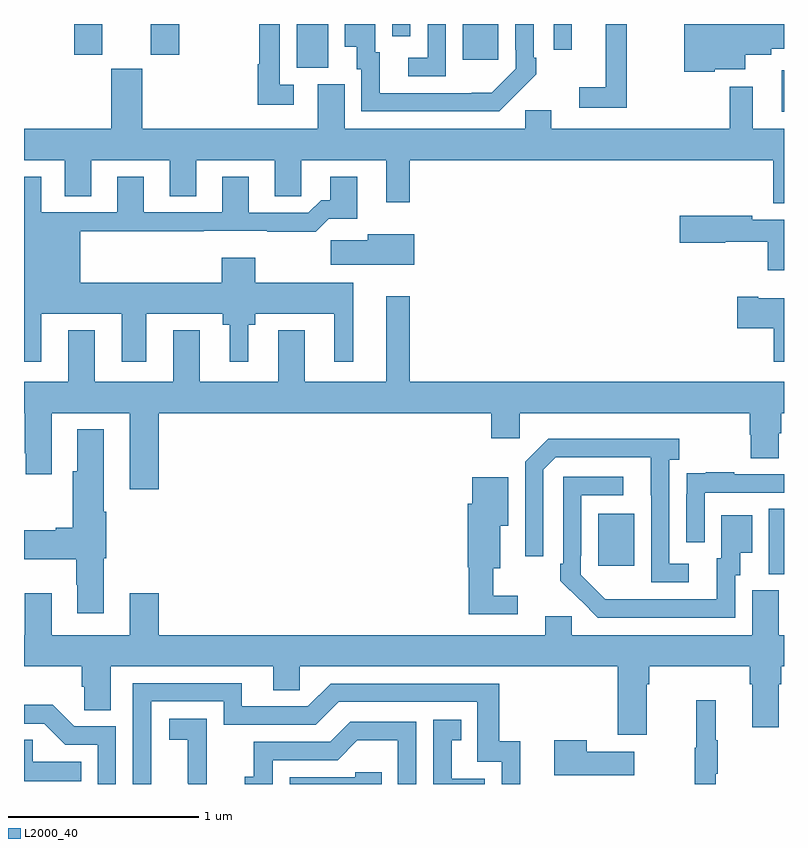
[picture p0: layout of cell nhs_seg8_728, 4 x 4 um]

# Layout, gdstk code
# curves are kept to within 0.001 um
import gdstk
lib = gdstk.Library(unit=1e-6, precision=1e-09)
def R(c, l, rs):  # rectangles x0, y0, x1, y1
    for r in rs: c.add(gdstk.rectangle(r[:2], r[2:], *l))
def P(c, l, *ps):  # polygons
    for p in ps: c.add(gdstk.Polygon(p, *l))
L2000_40 = (2000, 40)

nhs_seg8_728 = lib.new_cell('nhs_seg8_728')
R(nhs_seg8_728, L2000_40, [(162.92,1097.005,163,1097.348), (162.023,1097.049,162.211,1097.323), (162.989,1099.437,163,1099.657), (160.436,1099.669,160.6,1099.9), (161.309,1099.713,161.497,1099.9), (159.265,1099.737,159.412,1099.9), (159.668,1099.737,159.816,1099.9), (161.787,1099.764,161.883,1099.9), (160.938,1099.836,161.034,1099.9)])
P(nhs_seg8_728, L2000_40, [(161.591,1099.531),(161.592,1099.53),(161.697,1099.635),(161.697,1099.723),(161.682,1099.723),(161.682,1099.9),(161.586,1099.9),(161.586,1099.765),(161.589,1099.765),(161.589,1099.665),(161.461,1099.537),(161.357,1099.536),(160.873,1099.536),(160.873,1099.752),(160.849,1099.752),(160.849,1099.9),(160.688,1099.9),(160.688,1099.781),(160.751,1099.781),(160.751,1099.662),(160.776,1099.662),(160.776,1099.44),(161.5,1099.44)],
  [(160.42,1099.581),(160.347,1099.581),(160.347,1099.9),(160.239,1099.9),(160.239,1099.688),(160.231,1099.688),(160.231,1099.476),(160.42,1099.476)],
  [(161.22,1099.9),(161.124,1099.9),(161.124,1099.722),(161.022,1099.722),(161.022,1099.626),(161.22,1099.626)],
  [(162.172,1099.9),(162.062,1099.9),(162.062,1099.567),(161.922,1099.567),(161.922,1099.458),(162.172,1099.458)],
  [(162.636,1099.661),(162.796,1099.661),(162.796,1099.739),(162.934,1099.739),(162.934,1099.77),(163,1099.77),(163,1099.9),(162.475,1099.9),(162.475,1099.649),(162.636,1099.649)],
  [(163,1099.348),(162.835,1099.348),(162.835,1099.57),(162.714,1099.57),(162.714,1099.348),(161.776,1099.348),(161.776,1099.446),(161.637,1099.446),(161.637,1099.348),(160.687,1099.348),(160.687,1099.584),(160.547,1099.584),(160.547,1099.348),(159.622,1099.348),(159.622,1099.665),(159.458,1099.665),(159.458,1099.348),(159,1099.348),(159,1099.184),(159.215,1099.184),(159.215,1098.994),(159.355,1098.994),(159.355,1099.184),(159.767,1099.184),(159.767,1098.994),(159.907,1098.994),(159.907,1099.184),(160.319,1099.184),(160.319,1098.994),(160.458,1098.994),(160.458,1099.184),(160.907,1099.184),(160.907,1098.963),(161.029,1098.963),(161.029,1099.184),(162.943,1099.184),(162.943,1098.956),(163,1098.956)],
  [(159.091,1098.374),(159.515,1098.374),(159.515,1098.123),(159.643,1098.123),(159.643,1098.374),(160.045,1098.374),(160.045,1098.317),(160.082,1098.317),(160.082,1098.123),(160.18,1098.123),(160.18,1098.317),(160.218,1098.317),(160.218,1098.374),(160.634,1098.374),(160.634,1098.123),(160.732,1098.123),(160.732,1098.538),(160.218,1098.538),(160.218,1098.67),(160.04,1098.67),(160.04,1098.538),(159.295,1098.538),(159.295,1098.808),(159.947,1098.808),(159.947,1098.812),(160.279,1098.812),(160.279,1098.806),(160.535,1098.806),(160.604,1098.875),(160.753,1098.875),(160.753,1099.096),(160.613,1099.096),(160.613,1098.973),(160.564,1098.973),(160.497,1098.906),(160.183,1098.906),(160.183,1099.096),(160.043,1099.096),(160.043,1098.909),(159.631,1098.909),(159.631,1099.096),(159.491,1099.096),(159.491,1098.909),(159.091,1098.909),(159.091,1099.096),(159,1099.096),(159,1098.123),(159.091,1098.123)],
  [(163,1098.871),(162.834,1098.871),(162.834,1098.891),(162.45,1098.891),(162.45,1098.749),(162.69,1098.749),(162.69,1098.754),(162.914,1098.754),(162.914,1098.605),(163,1098.605)],
  [(161.053,1098.793),(160.808,1098.793),(160.808,1098.761),(160.614,1098.761),(160.614,1098.632),(161.053,1098.632)],
  [(161.459,1097.721),(161.61,1097.721),(161.61,1097.852),(162.821,1097.852),(162.821,1097.739),(162.826,1097.739),(162.826,1097.614),(162.973,1097.614),(162.973,1097.746),(162.986,1097.746),(162.986,1097.852),(163,1097.852),(163,1098.016),(161.029,1098.016),(161.029,1098.466),(160.907,1098.466),(160.907,1098.016),(160.477,1098.016),(160.477,1098.289),(160.337,1098.289),(160.337,1098.016),(159.925,1098.016),(159.925,1098.289),(159.785,1098.289),(159.785,1098.016),(159.373,1098.016),(159.373,1098.289),(159.233,1098.289),(159.233,1098.016),(159,1098.016),(159,1097.852),(159.005,1097.852),(159.005,1097.641),(159.008,1097.641),(159.008,1097.529),(159.145,1097.529),(159.145,1097.852),(159.557,1097.852),(159.557,1097.451),(159.71,1097.451),(159.71,1097.852),(161.459,1097.852)],
  [(163,1098.457),(162.865,1098.457),(162.865,1098.465),(162.753,1098.465),(162.753,1098.299),(162.946,1098.299),(162.946,1098.123),(163,1098.123)],
  [(159.421,1097.088),(159.434,1097.088),(159.434,1097.332),(159.421,1097.332),(159.421,1097.767),(159.281,1097.767),(159.281,1097.547),(159.256,1097.547),(159.256,1097.249),(159.167,1097.249),(159.167,1097.236),(159,1097.236),(159,1097.084),(159.274,1097.084),(159.274,1096.95),(159.281,1096.95),(159.281,1096.8),(159.421,1096.8)],
  [(162.499,1097.058),(162.396,1097.058),(162.396,1097.606),(162.448,1097.606),(162.448,1097.716),(161.758,1097.716),(161.637,1097.595),(161.637,1097.1),(161.733,1097.1),(161.733,1097.553),(161.799,1097.619),(162.299,1097.619),(162.3,1096.962),(162.499,1096.962)],
  [(162.582,1097.433),(163,1097.433),(163,1097.529),(162.737,1097.529),(162.737,1097.542),(162.589,1097.542),(162.589,1097.535),(162.487,1097.535),(162.487,1097.426),(162.486,1097.426),(162.486,1097.172),(162.582,1097.172)],
  [(162.744,1096.998),(162.769,1096.998),(162.769,1097.117),(162.832,1097.117),(162.832,1097.314),(162.671,1097.314),(162.671,1097.088),(162.647,1097.088),(162.647,1096.872),(162.06,1096.873),(161.931,1097.001),(161.931,1097.101),(161.934,1097.101),(161.934,1097.421),(162.154,1097.421),(162.154,1097.517),(161.838,1097.517),(161.838,1097.059),(161.823,1097.059),(161.823,1096.971),(162.02,1096.776),(162.744,1096.776)],
  [(161.599,1096.891),(161.47,1096.891),(161.47,1097.036),(161.506,1097.036),(161.506,1097.258),(161.548,1097.258),(161.548,1097.515),(161.36,1097.515),(161.36,1097.376),(161.336,1097.376),(161.336,1097.04),(161.341,1097.04),(161.341,1096.794),(161.599,1096.794)],
  [(162.277,1096.424),(162.29,1096.424),(162.29,1096.52),(162.821,1096.52),(162.821,1096.424),(162.833,1096.424),(162.833,1096.2),(162.973,1096.2),(162.973,1096.424),(162.986,1096.424),(162.986,1096.52),(163,1096.52),(163,1096.684),(162.973,1096.684),(162.973,1096.92),(162.833,1096.92),(162.833,1096.684),(161.883,1096.684),(161.883,1096.782),(161.744,1096.782),(161.744,1096.684),(159.71,1096.684),(159.71,1096.903),(159.557,1096.903),(159.557,1096.684),(159.145,1096.684),(159.145,1096.903),(159.005,1096.903),(159.005,1096.684),(159,1096.684),(159,1096.52),(159.305,1096.52),(159.305,1096.411),(159.318,1096.411),(159.318,1096.288),(159.457,1096.288),(159.457,1096.52),(160.313,1096.52),(160.313,1096.393),(160.452,1096.393),(160.452,1096.52),(162.125,1096.52),(162.125,1096.158),(162.277,1096.158)],
  [(159.669,1096.335),(160.05,1096.335),(160.05,1096.212),(160.536,1096.212),(160.656,1096.332),(161.385,1096.332),(161.385,1096.017),(161.514,1096.017),(161.514,1095.9),(161.612,1095.9),(161.612,1096.126),(161.501,1096.126),(161.501,1096.428),(160.614,1096.428),(160.494,1096.308),(160.147,1096.308),(160.147,1096.431),(159.573,1096.431),(159.573,1095.9),(159.669,1095.9)],
  [(162.641,1095.955),(162.652,1095.955),(162.652,1096.129),(162.641,1096.129),(162.641,1096.342),(162.538,1096.342),(162.538,1096.092),(162.531,1096.092),(162.531,1095.9),(162.641,1095.9)],
  [(159.483,1096.203),(159.264,1096.203),(159.151,1096.316),(159,1096.316),(159,1096.218),(159.107,1096.218),(159.218,1096.107),(159.387,1096.107),(159.387,1095.9),(159.483,1095.9)],
  [(159.962,1096.037),(159.963,1096.037),(159.963,1096.243),(159.765,1096.243),(159.765,1096.133),(159.863,1096.133),(159.863,1095.905),(159.864,1095.905),(159.864,1095.9),(159.962,1095.9)],
  [(161.424,1095.927),(161.251,1095.927),(161.251,1096.131),(161.3,1096.131),(161.3,1096.237),(161.154,1096.237),(161.154,1095.9),(161.424,1095.9)],
  [(160.308,1096.026),(160.65,1096.026),(160.754,1096.13),(160.968,1096.13),(160.968,1095.9),(161.064,1095.9),(161.064,1096.227),(160.718,1096.227),(160.613,1096.122),(160.21,1096.122),(160.21,1095.937),(160.161,1095.937),(160.161,1095.9),(160.308,1095.9)],
  [(159.302,1096.018),(159.045,1096.018),(159.045,1096.133),(159,1096.133),(159,1095.914),(159.302,1095.914)],
  [(162.211,1096.069),(161.963,1096.069),(161.963,1096.129),(161.792,1096.129),(161.792,1095.947),(162.211,1095.947)],
  [(160.883,1095.963),(160.743,1095.963),(160.743,1095.936),(160.398,1095.936),(160.398,1095.9),(160.883,1095.9)])

lib.write_gds('nhs_seg8_728.gds')
